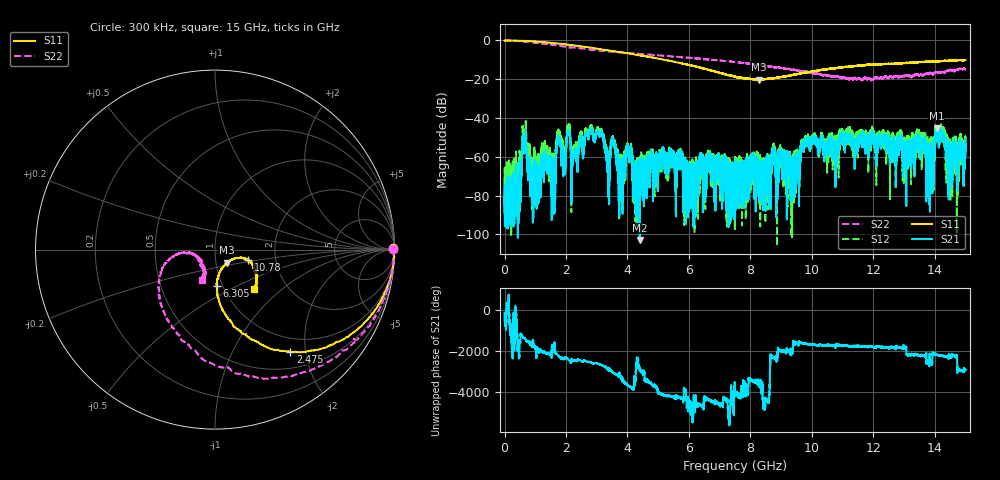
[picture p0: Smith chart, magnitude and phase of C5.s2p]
!Agilent Technologies,N5230C,SG49000117,A.08.50.07
!Agilent N5230C: A.08.50.07
!Date: Monday, December 11, 2023 23:03:12
!Correction: S11(Full 2 Port(1,2))
!S21(Full 2 Port(1,2))
!S12(Full 2 Port(1,2))
!S22(Full 2 Port(1,2))
!S2P File: Measurements: S11, S21, S12, S22:
# Hz S  RI  R 50
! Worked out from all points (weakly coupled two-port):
!   20001 points, 300 kHz to 15 GHz, reference 50 ohm
!   highest |S21| = -45.28 dB at 14.07 GHz (marker M1); lowest = -102.9 dB at 4.4 GHz (marker M2)
!   lowest |S11| = -20.2 dB at 8.27 GHz (marker M3), VSWR 1.22, Z = 56.3 - j8.37 ohm
!   |S11| at or under -10 dB: 5.223 GHz to 14.82 GHz (9.602 GHz wide, 95.8 % of centre); 14.82454 GHz to 14.83329 GHz (8.747 MHz wide, 0.059 % of centre); 14.83 GHz to end of sweep (the widest 3 of 6)
!   |S22| runs from -20.6 to 0.0 dB; largest |S21 - S12| = 0.0045
!   S11 on the Smith chart (normalised r, x): 300 kHz: open; 2.475 GHz: 0.76, -1.72; 6.305 GHz: 0.94, -0.40; 10.78 GHz: 1.44, -0.18; 15 GHz: 1.37, -0.68
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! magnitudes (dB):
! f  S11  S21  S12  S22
! 300 kHz  -0.1  -75.2  -65.3  -0.1
! 453.3 MHz  -0.1  -76.1  -70.1  -0.3
! 641.5 MHz  -0.2  -55.5  -50.3  -0.5
! 1.095 GHz  -0.7  -72.8  -58.7  -1.2
! 1.59 GHz  -1.4  -60.7  -69.8  -2.2
! 1.759 GHz  -1.6  -51.0  -47.1  -2.7
! 2.475 GHz  -3.0  -50.2  -48.1  -4.0
! 2.501 GHz  -3.1  -49.6  -47.5  -4.1
! 3.097 GHz  -4.5  -49.2  -48.4  -5.2
! 3.364 GHz  -5.1  -63.4  -63.9  -5.6
! 4.4 GHz  -7.7  -102.9  -62.9  -6.9
! 5 GHz  -9.4  -61.5  -62.8  -7.7
! 6.305 GHz  -13.8  -67.7  -71.9  -9.3
! 7.5 GHz  -18.6  -68.7  -61.5  -11.2
! 8.27 GHz  -20.2  -73.0  -72.9  -12.7
! 9.383 GHz  -17.8  -67.2  -65.1  -15.2
! 10 GHz  -15.9  -51.0  -51.0  -16.5
! 10.78 GHz  -14.2  -67.4  -53.4  -18.5
! 12.5 GHz  -12.0  -50.6  -52.9  -19.3
! 13.79 GHz  -10.9  -55.1  -54.5  -17.3
! 14.07 GHz  -10.8  -45.3  -48.5  -16.4
! 15 GHz  -10.1  -53.7  -51.9  -14.8
